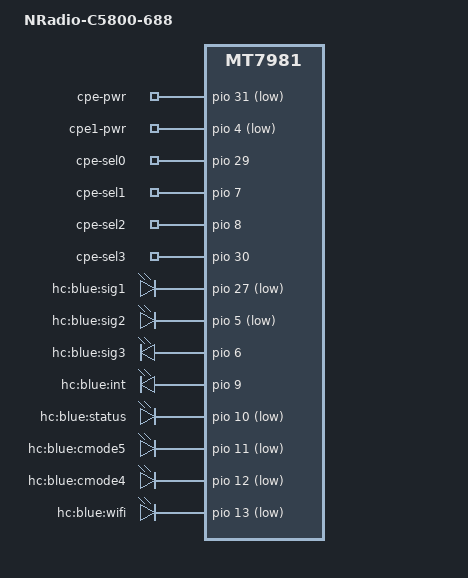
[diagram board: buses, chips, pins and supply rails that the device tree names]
/dts-v1/;

#include <dt-bindings/input/input.h>

#include "mt7981-nradio-c5800-688-emmc.dtsi"

/ {
	model = "NRadio-C5800-688";

	aliases {
		serial0 = &uart0;
		led-boot = &led_status;
		led-failsafe = &led_status;
		led-running = &led_status;
		led-upgrade = &led_status;
	};

	chosen {
		stdout-path = "serial0:115200n8";
	};

	gpio_export {
		compatible = "gpio-export";
		#size-cells = <0>;

		cpepower {
			gpio-export,name = "cpe-pwr";
			gpio-export,output = <0>;
			gpios = <&pio 31 GPIO_ACTIVE_LOW>;
		};

		cpepower2 {
			gpio-export,name = "cpe1-pwr";
			gpio-export,output = <0>;
			gpios = <&pio 4 GPIO_ACTIVE_LOW>;
		};

		cpesel0 {
			gpio-export,name = "cpe-sel0";
			gpio-export,output = <0>;
			gpios = <&pio 29 GPIO_ACTIVE_HIGH>;
		};

		cpesel1 {
			gpio-export,name = "cpe-sel1";
			gpio-export,output = <1>;
			gpios = <&pio 7 GPIO_ACTIVE_HIGH>;
		};

		cpesel2 {
			gpio-export,name = "cpe-sel2";
			gpio-export,output = <1>;
			gpios = <&pio 8 GPIO_ACTIVE_HIGH>;
		};

		cpesel3 {
			gpio-export,name = "cpe-sel3";
			gpio-export,output = <1>;
			gpios = <&pio 30 GPIO_ACTIVE_HIGH>;
		};
	};

	gpio-leds {
		compatible = "gpio-leds";

		sig1 {
			label = "hc:blue:sig1";
			gpios = <&pio 27 GPIO_ACTIVE_LOW>;
		};

		sig2 {
			label = "hc:blue:sig2";
			gpios = <&pio 5 GPIO_ACTIVE_LOW>;
		};

		sig3 {
			label = "hc:blue:sig3";
			gpios = <&pio 6 GPIO_ACTIVE_HIGH>;
		};

		int_led {
			label = "hc:blue:int";
			gpios = <&pio 9 GPIO_ACTIVE_HIGH>;
		};

		led_status: status {
			label = "hc:blue:status";
			gpios = <&pio 10 GPIO_ACTIVE_LOW>;
		};

		cmode5 {
			label = "hc:blue:cmode5";
			gpios = <&pio 11 GPIO_ACTIVE_LOW>;
		};

		cmode4 {
			label = "hc:blue:cmode4";
			gpios = <&pio 12 GPIO_ACTIVE_LOW>;
		};

		wifi {
			label = "hc:blue:wifi";
			gpios = <&pio 13 GPIO_ACTIVE_LOW>;
		};
	};
};

&gkeys {
	/delete-node/ wps;

	reset {
		label = "reset";
		linux,code = <KEY_RESTART>;
		gpios = <&pio 1 GPIO_ACTIVE_LOW>;
	};
};
